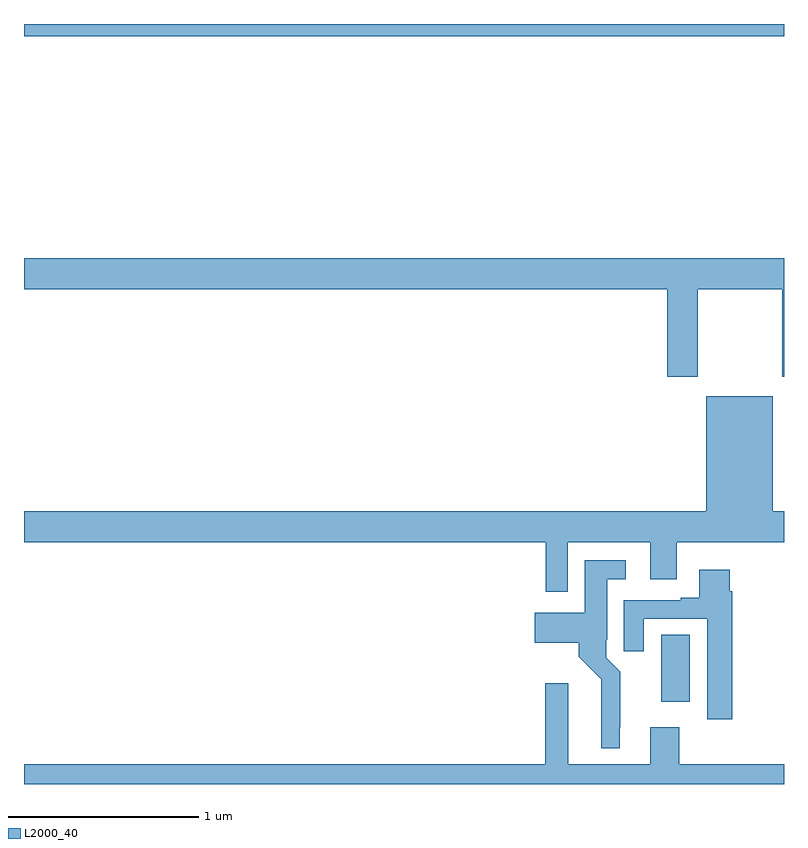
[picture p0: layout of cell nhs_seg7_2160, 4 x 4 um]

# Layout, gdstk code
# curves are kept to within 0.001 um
import gdstk
lib = gdstk.Library(unit=1e-6, precision=1e-09)
def R(c, l, rs):  # rectangles x0, y0, x1, y1
    for r in rs: c.add(gdstk.rectangle(r[:2], r[2:], *l))
def P(c, l, *ps):  # polygons
    for p in ps: c.add(gdstk.Polygon(p, *l))
L2000_40 = (2000, 40)

nhs_seg7_2160 = lib.new_cell('nhs_seg7_2160')
R(nhs_seg7_2160, L2000_40, [(256.355,1010.433,256.504,1010.786), (253,1013.936,257,1014)])
P(nhs_seg7_2160, L2000_40, [(253,1012.604),(256.385,1012.604),(256.385,1012.143),(256.545,1012.143),(256.545,1012.604),(256.99,1012.604),(256.99,1012.143),(257,1012.143),(257,1012.768),(253,1012.768)],
  [(255.861,1011.272),(256.295,1011.272),(256.295,1011.078),(256.435,1011.078),(256.435,1011.272),(257,1011.272),(257,1011.436),(256.942,1011.436),(256.942,1012.042),(256.592,1012.042),(256.592,1011.436),(253,1011.436),(253,1011.272),(255.745,1011.272),(255.745,1011.012),(255.861,1011.012)],
  [(256.135,1010.299),(256.139,1010.299),(256.139,1010.59),(256.065,1010.664),(256.065,1010.758),(256.069,1010.758),(256.069,1011.077),(256.168,1011.077),(256.168,1011.178),(255.95,1011.178),(255.95,1010.902),(255.687,1010.902),(255.687,1010.744),(255.92,1010.744),(255.92,1010.67),(256.038,1010.552),(256.037,1010.189),(256.135,1010.189)],
  [(256.727,1011.014),(256.714,1011.014),(256.714,1011.127),(256.553,1011.127),(256.553,1010.98),(256.457,1010.98),(256.457,1010.967),(256.157,1010.967),(256.157,1010.7),(256.261,1010.7),(256.261,1010.871),(256.595,1010.871),(256.595,1010.34),(256.727,1010.34)],
  [(257,1010.104),(256.448,1010.104),(256.448,1010.299),(256.295,1010.299),(256.295,1010.104),(255.865,1010.104),(255.865,1010.53),(255.743,1010.53),(255.743,1010.104),(253,1010.104),(253,1010),(257,1010)])

lib.write_gds('nhs_seg7_2160.gds')
